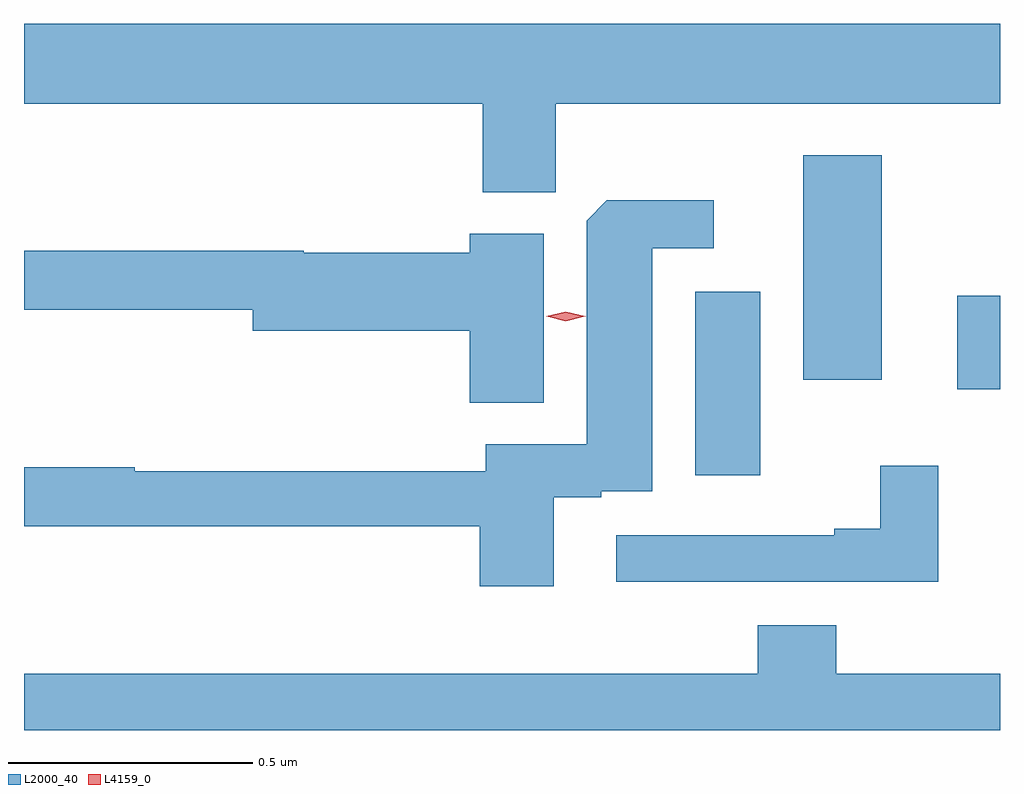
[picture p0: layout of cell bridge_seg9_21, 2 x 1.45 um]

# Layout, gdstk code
import gdstk
lib = gdstk.Library(unit=1e-6, precision=1e-09)
def R(c, l, rs):  # rectangles x0, y0, x1, y1
    for r in rs: c.add(gdstk.rectangle(r[:2], r[2:], *l))
def P(c, l, *ps):  # polygons
    for p in ps: c.add(gdstk.Polygon(p, *l))
L2000_40 = (2000, 40)
L4159_0 = (4159, 0)

bridge_seg9_21 = lib.new_cell('bridge_seg9_21')
R(bridge_seg9_21, L2000_40, [(959.012,1165.023,959.146,1165.399), (959.549,1165.199,959.637,1165.39), (959.234,1165.218,959.395,1165.678)])
P(bridge_seg9_21, L2000_40, [(958.727,1165.784),(959.637,1165.784),(959.637,1165.948),(957.637,1165.948),(957.637,1165.784),(958.577,1165.784),(958.577,1165.603),(958.727,1165.603)],
  [(958.723,1164.978),(958.82,1164.978),(958.82,1164.99),(958.924,1164.99),(958.924,1165.488),(959.05,1165.488),(959.05,1165.586),(958.831,1165.586),(958.79,1165.544),(958.79,1165.086),(958.583,1165.086),(958.583,1165.031),(957.864,1165.031),(957.864,1165.039),(957.637,1165.039),(957.637,1164.918),(958.571,1164.918),(958.571,1164.795),(958.723,1164.795)],
  [(958.702,1165.518),(958.55,1165.518),(958.55,1165.479),(958.21,1165.479),(958.21,1165.483),(957.637,1165.483),(957.637,1165.362),(958.106,1165.362),(958.106,1165.319),(958.55,1165.319),(958.55,1165.171),(958.702,1165.171)],
  [(959.51,1165.042),(959.392,1165.042),(959.392,1164.913),(959.297,1164.913),(959.297,1164.9),(958.851,1164.9),(958.851,1164.804),(959.51,1164.804)],
  [(959.637,1164.616),(959.301,1164.616),(959.301,1164.715),(959.141,1164.715),(959.141,1164.616),(957.637,1164.616),(957.637,1164.5),(959.637,1164.5)])
P(bridge_seg9_21, L4159_0, [(958.747,1165.338),(958.707,1165.348),(958.706,1165.348),(958.707,1165.348),(958.747,1165.358),(958.787,1165.348),(958.788,1165.348),(958.787,1165.348)])

lib.write_gds('bridge_seg9_21.gds')
